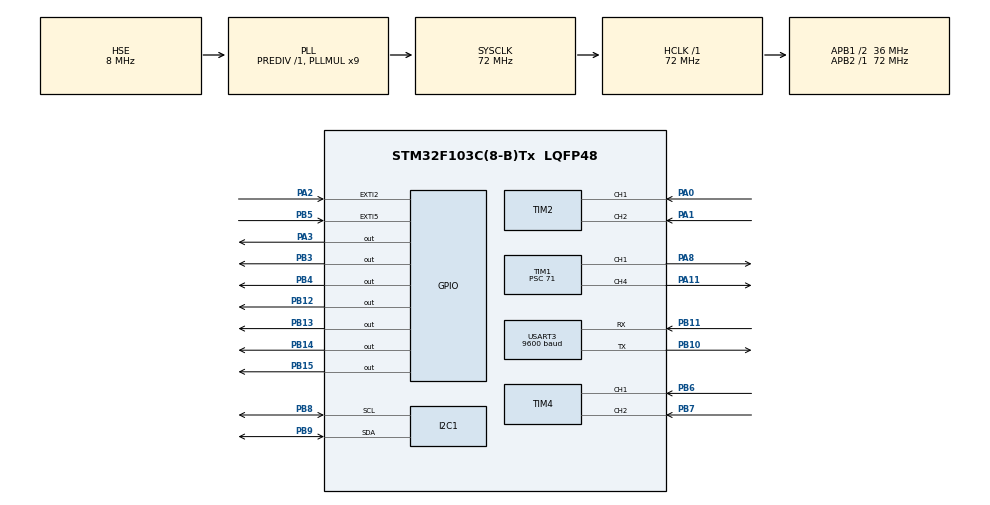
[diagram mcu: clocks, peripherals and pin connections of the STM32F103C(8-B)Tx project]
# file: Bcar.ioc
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Mcu.Family=STM32F1
Mcu.Name=STM32F103C(8-B)Tx
Mcu.Package=LQFP48
NVIC.EXTI2_IRQn=true\:0\:0\:false\:false\:true\:true\:true\:true
NVIC.EXTI9_5_IRQn=true\:0\:0\:false\:false\:true\:true\:true\:true
NVIC.PriorityGroup=NVIC_PRIORITYGROUP_4
NVIC.USART3_IRQn=true\:0\:0\:false\:false\:true\:true\:true\:true
PA0-WKUP.Signal=S_TIM2_CH1_ETR
PA1.Signal=S_TIM2_CH2
PA11.Signal=S_TIM1_CH4
PA13.Mode=Serial_Wire
PA13.Signal=SYS_JTMS-SWDIO
PA14.Mode=Serial_Wire
PA14.Signal=SYS_JTCK-SWCLK
PA2.GPIO_ModeDefaultEXTI=GPIO_MODE_IT_RISING_FALLING
PA2.Signal=GPXTI2
PA3.GPIO_Speed=GPIO_SPEED_FREQ_HIGH
PA3.Signal=GPIO_Output
PA8.Signal=S_TIM1_CH1
PB10.Mode=Asynchronous
PB10.Signal=USART3_TX
PB11.Mode=Asynchronous
PB11.Signal=USART3_RX
PB12.Signal=GPIO_Output
PB13.Signal=GPIO_Output
PB14.Signal=GPIO_Output
PB15.Signal=GPIO_Output
PB3.GPIO_ModeDefaultOutputPP=GPIO_MODE_OUTPUT_OD
PB3.GPIO_PuPd=GPIO_PULLUP
PB3.GPIO_Speed=GPIO_SPEED_FREQ_HIGH
PB3.PinState=GPIO_PIN_SET
PB3.Signal=GPIO_Output
PB4.GPIO_ModeDefaultOutputPP=GPIO_MODE_OUTPUT_OD
PB4.GPIO_PuPd=GPIO_PULLUP
PB4.GPIO_Speed=GPIO_SPEED_FREQ_HIGH
PB4.PinState=GPIO_PIN_SET
PB4.Signal=GPIO_Output
PB5.GPIO_ModeDefaultEXTI=GPIO_MODE_IT_FALLING
PB5.GPIO_PuPd=GPIO_PULLUP
PB5.Signal=GPXTI5
PB6.Signal=S_TIM4_CH1
PB7.Signal=S_TIM4_CH2
PB8.Mode=I2C
PB8.Signal=I2C1_SCL
PB9.Mode=I2C
PB9.Signal=I2C1_SDA
PD0-OSC_IN.Mode=HSE-External-Oscillator
PD0-OSC_IN.Signal=RCC_OSC_IN
PD1-OSC_OUT.Mode=HSE-External-Oscillator
PD1-OSC_OUT.Signal=RCC_OSC_OUT
ProjectManager.HeapSize=0x200
ProjectManager.StackSize=0x400
ProjectManager.TargetToolchain=CMake
RCC.AHBFreq_Value=72000000
RCC.APB1CLKDivider=RCC_HCLK_DIV2
RCC.APB1Freq_Value=36000000
RCC.APB1TimFreq_Value=72000000
RCC.APB2Freq_Value=72000000
RCC.APB2TimFreq_Value=72000000
RCC.HCLKFreq_Value=72000000
RCC.PLLMUL=RCC_PLL_MUL9
RCC.PLLSourceVirtual=RCC_PLLSOURCE_HSE
RCC.SYSCLKFreq_VALUE=72000000
RCC.SYSCLKSource=RCC_SYSCLKSOURCE_PLLCLK
RCC.USBFreq_Value=72000000
SH.S_TIM1_CH1.0=TIM1_CH1,PWM Generation1 CH1
SH.S_TIM1_CH4.0=TIM1_CH4,PWM Generation4 CH4
SH.S_TIM2_CH1_ETR.0=TIM2_CH1,Encoder_Interface
SH.S_TIM2_CH2.0=TIM2_CH2,Encoder_Interface
SH.S_TIM4_CH1.0=TIM4_CH1,Encoder_Interface
SH.S_TIM4_CH2.0=TIM4_CH2,Encoder_Interface
TIM1.Channel-PWM\ Generation1\ CH1=TIM_CHANNEL_1
TIM1.Channel-PWM\ Generation4\ CH4=TIM_CHANNEL_4
TIM1.Period=99
TIM1.Prescaler=71
TIM1.Pulse-PWM\ Generation1\ CH1=100
TIM1.Pulse-PWM\ Generation4\ CH4=100
TIM2.EncoderMode=TIM_ENCODERMODE_TI12
TIM3.Prescaler=71
TIM4.EncoderMode=TIM_ENCODERMODE_TI12
USART3.BaudRate=9600
USART3.VirtualMode=VM_ASYNC
VP_TIM3_VS_ClockSourceINT.Mode=Internal
board=custom

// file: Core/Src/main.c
/* USER CODE BEGIN Header */
/**
  ******************************************************************************
  * @file           : main.c
  * @brief          : Main program body
  ******************************************************************************
  * @attention
  *
  * Copyright (c) 2026 STMicroelectronics.
  * All rights reserved.
  *
  * This software is licensed under terms that can be found in the LICENSE file
  * in the root directory of this software component.
  * If no LICENSE file comes with this software, it is provided AS-IS.
  *
  ******************************************************************************
  */
/* USER CODE END Header */
#include "main.h"
#include "i2c.h"
#include "stm32f1xx_hal_uart.h"
#include "tim.h"
#include "usart.h"
#include "gpio.h"

/* USER CODE BEGIN Includes */
#include "oled.h"
#include "IIC.h"
#include "mpu6050.h"
#include "inv_mpu.h"
#include "inv_mpu_dmp_motion_driver.h"
#include "stdio.h"
#include "sr04.h"
#include "motor.h"
#include "pid.h"
#include "encoder.h"
#include "tune.h"
#include <stdint.h>
/* USER CODE END Includes */

/* USER CODE BEGIN PV */
extern uint8_t rx_buf[2];
extern float pitch, roll, yaw;
extern int Encoder_Left, Encoder_Right;
uint8_t display_buf[32];
extern float distance; // 声明外部变量distance
uint32_t sys_tick;
/* USER CODE END PV */

void SystemClock_Config(void);
/* USER CODE BEGIN PFP */
void Read();
/* USER CODE END PFP */

int main(void)
{

  /* MCU Configuration--------------------------------------------------------*/

  /* Reset of all peripherals, Initializes the Flash interface and the Systick. */
  HAL_Init();

  /* Configure the system clock */
  SystemClock_Config();

  /* Initialize all configured peripherals */
  MX_GPIO_Init();
  MX_I2C1_Init();
  MX_TIM3_Init();
  MX_TIM1_Init();
  MX_TIM2_Init();
  MX_TIM4_Init();
  MX_USART3_UART_Init();
  /* USER CODE BEGIN 2 */
  OLED_Init();
  MPU_Init();
  mpu_dmp_init();
  Tune_Init(); // 初始化调参 mailbox，并使能 EXTI9_5(MPU6050 INT -> Control())
  HAL_TIM_Encoder_Start(&htim2, TIM_CHANNEL_ALL); // 启动定时器3的编码器模式
  HAL_TIM_Encoder_Start(&htim4, TIM_CHANNEL_ALL); // 启动定时器4的编码器模式
  HAL_TIM_PWM_Start(&htim1, TIM_CHANNEL_1); // 启动定时器1的PWM输出
  HAL_TIM_PWM_Start(&htim1, TIM_CHANNEL_4); // 启动定时器1的PWM输出
  Load(0, 0); // 设置电机A和电机B的PWM占空比为0
  HAL_UART_Receive_IT(&huart3, rx_buf, 1);
  OLED_NewFrame();
  sprintf((char*)display_buf, "Init Success");
  OLED_PrintString(4, 12, (char*)display_buf, &font16x16, OLED_COLOR_NORMAL);
  OLED_ShowFrame();
  /* USER CODE END 2 */

  /* Infinite loop */
  /* USER CODE BEGIN WHILE */
  while (1)
  {
    // Get_Distance();
    OLED_NewFrame();
    sprintf((char*)display_buf, "Pitch: %.2f", pitch);
    OLED_PrintString(4, 0, (char*)display_buf, &font16x16, OLED_COLOR_NORMAL);
    sprintf((char*)display_buf, "Roll: %.2f", roll);
    OLED_PrintString(4, 12, (char*)display_buf, &font16x16, OLED_COLOR_NORMAL);
    sprintf((char*)display_buf, "Yaw: %.2f", yaw);
    OLED_PrintString(4, 24, (char*)display_buf, &font16x16, OLED_COLOR_NORMAL);
    // sprintf((char*)display_buf, "Distance:%.2fcm", distance);
    // OLED_PrintString(4, 36, (char*)display_buf, &font16x16, OLED_COLOR_NORMAL);
    sprintf((char*)display_buf, "Left: %d", Encoder_Left);
    OLED_PrintString(4, 36, (char*)display_buf, &font16x16, OLED_COLOR_NORMAL);
    sprintf((char*)display_buf, "Right: %d", Encoder_Right);
    OLED_PrintString(4, 48, (char*)display_buf, &font16x16, OLED_COLOR_NORMAL);
    OLED_ShowFrame();
    /* USER CODE END WHILE */

  }
}

void SystemClock_Config(void)
{
  RCC_OscInitTypeDef RCC_OscInitStruct = {0};
  RCC_ClkInitTypeDef RCC_ClkInitStruct = {0};

  /** Initializes the RCC Oscillators according to the specified parameters
  * in the RCC_OscInitTypeDef structure.
  */
  RCC_OscInitStruct.OscillatorType = RCC_OSCILLATORTYPE_HSE;
  RCC_OscInitStruct.HSEState = RCC_HSE_ON;
  RCC_OscInitStruct.HSEPredivValue = RCC_HSE_PREDIV_DIV1;
  RCC_OscInitStruct.HSIState = RCC_HSI_ON;
  RCC_OscInitStruct.PLL.PLLState = RCC_PLL_ON;
  RCC_OscInitStruct.PLL.PLLSource = RCC_PLLSOURCE_HSE;
  RCC_OscInitStruct.PLL.PLLMUL = RCC_PLL_MUL9;
  if (HAL_RCC_OscConfig(&RCC_OscInitStruct) != HAL_OK)
  {
    Error_Handler();
  }

  /** Initializes the CPU, AHB and APB buses clocks
  */
  RCC_ClkInitStruct.ClockType = RCC_CLOCKTYPE_HCLK|RCC_CLOCKTYPE_SYSCLK
                              |RCC_CLOCKTYPE_PCLK1|RCC_CLOCKTYPE_PCLK2;
  RCC_ClkInitStruct.SYSCLKSource = RCC_SYSCLKSOURCE_PLLCLK;
  RCC_ClkInitStruct.AHBCLKDivider = RCC_SYSCLK_DIV1;
  RCC_ClkInitStruct.APB1CLKDivider = RCC_HCLK_DIV2;
  RCC_ClkInitStruct.APB2CLKDivider = RCC_HCLK_DIV1;

  if (HAL_RCC_ClockConfig(&RCC_ClkInitStruct, FLASH_LATENCY_2) != HAL_OK)
  {
    Error_Handler();
  }
}

void Error_Handler(void)
{
  __disable_irq();
  while (1)
  {
  }
}
